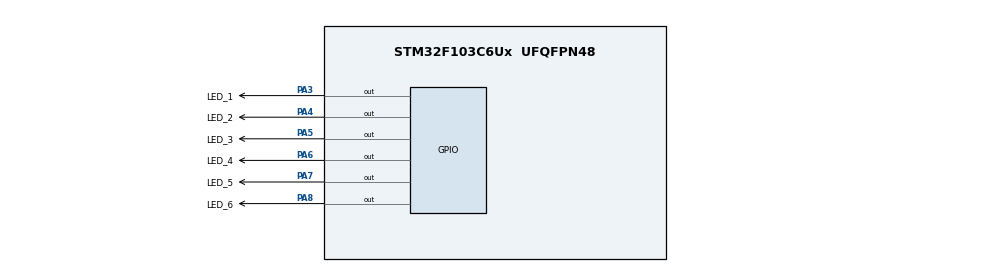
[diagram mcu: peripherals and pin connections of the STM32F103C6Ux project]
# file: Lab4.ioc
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Mcu.Family=STM32F1
Mcu.Name=STM32F103C6Ux
Mcu.Package=UFQFPN48
NVIC.PriorityGroup=NVIC_PRIORITYGROUP_4
NVIC.TIM2_IRQn=true\:0\:0\:false\:false\:true\:true\:true
PA3.GPIO_Label=LED_1
PA3.Signal=GPIO_Output
PA4.GPIO_Label=LED_2
PA4.Signal=GPIO_Output
PA5.GPIO_Label=LED_3
PA5.Signal=GPIO_Output
PA6.GPIO_Label=LED_4
PA6.Signal=GPIO_Output
PA7.GPIO_Label=LED_5
PA7.Signal=GPIO_Output
PA8.GPIO_Label=LED_6
PA8.Signal=GPIO_Output
ProjectManager.HeapSize=0x200
ProjectManager.StackSize=0x400
ProjectManager.TargetToolchain=STM32CubeIDE
RCC.APB1Freq_Value=8000000
RCC.APB2Freq_Value=8000000
TIM2.Period=9
TIM2.Prescaler=7999
VP_SYS_VS_ND.Mode=No_Debug
VP_TIM2_VS_ClockSourceINT.Mode=Internal
board=custom

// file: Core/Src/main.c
/* USER CODE BEGIN Header */
/**
  ******************************************************************************
  * @file           : main.c
  * @brief          : Main program body
  ******************************************************************************
  * @attention
  *
  * <h2><center>&copy; Copyright (c) 2024 STMicroelectronics.
  * All rights reserved.</center></h2>
  *
  * This software component is licensed by ST under BSD 3-Clause license,
  * the "License"; You may not use this file except in compliance with the
  * License. You may obtain a copy of the License at:
  *                        opensource.org/licenses/BSD-3-Clause
  *
  ******************************************************************************
  */
/* USER CODE END Header */
#include "main.h"

TIM_HandleTypeDef htim2;

void SystemClock_Config(void);
static void MX_GPIO_Init(void);
static void MX_TIM2_Init(void);
/* USER CODE BEGIN PFP */
void clearLED(void){ //reset all the LED
	HAL_GPIO_WritePin(LED_6_GPIO_Port, LED_6_Pin, 0);
	HAL_GPIO_WritePin(LED_1_GPIO_Port, LED_1_Pin, 0);
	HAL_GPIO_WritePin(LED_2_GPIO_Port, LED_2_Pin, 0);
	HAL_GPIO_WritePin(LED_3_GPIO_Port, LED_3_Pin, 0);
	HAL_GPIO_WritePin(LED_4_GPIO_Port, LED_4_Pin, 0);
	HAL_GPIO_WritePin(LED_5_GPIO_Port, LED_5_Pin, 0);
}

void toggleLED_1(void){
	HAL_GPIO_TogglePin(LED_1_GPIO_Port, LED_1_Pin);
}

void toggleLED_2(void){
	HAL_GPIO_TogglePin(LED_2_GPIO_Port, LED_2_Pin);
}

void toggleLED_3(void){
	HAL_GPIO_TogglePin(LED_3_GPIO_Port, LED_3_Pin);
}

void toggleLED_4(void){
	HAL_GPIO_TogglePin(LED_4_GPIO_Port, LED_4_Pin);
}

void toggleLED_5(void){
	HAL_GPIO_TogglePin(LED_5_GPIO_Port, LED_5_Pin);
}

void toggleLED_6(void){
	HAL_GPIO_TogglePin(LED_6_GPIO_Port, LED_6_Pin);
}
/* USER CODE END PFP */

int main(void)
{

  /* MCU Configuration--------------------------------------------------------*/

  /* Reset of all peripherals, Initializes the Flash interface and the Systick. */
  HAL_Init();

  /* Configure the system clock */
  SystemClock_Config();

  /* Initialize all configured peripherals */
  MX_GPIO_Init();
  MX_TIM2_Init();
  /* USER CODE BEGIN 2 */
  HAL_TIM_Base_Start_IT(&htim2);

  SCH_Add_Task(toggleLED_1, 0, 50);// 50 TICKS = 500MS (1 TICK = 10MS), ĐỘ TRỄ 0MS (hoạt động ngay lập tức)
  SCH_Add_Task(toggleLED_2, 100, 100);
  SCH_Add_Task(toggleLED_3, 200, 150);
  SCH_Add_Task(toggleLED_4, 300, 200);
  SCH_Add_Task(toggleLED_5, 400, 250);
  SCH_Add_Task(toggleLED_6, 500, 0);
  /* USER CODE END 2 */

  /* Infinite loop */
  while (1)
  {
	  SCH_Dispatch_Tasks();
  }
}

void SystemClock_Config(void)
{
  RCC_OscInitTypeDef RCC_OscInitStruct = {0};
  RCC_ClkInitTypeDef RCC_ClkInitStruct = {0};

  /** Initializes the RCC Oscillators according to the specified parameters
  * in the RCC_OscInitTypeDef structure.
  */
  RCC_OscInitStruct.OscillatorType = RCC_OSCILLATORTYPE_HSI;
  RCC_OscInitStruct.HSIState = RCC_HSI_ON;
  RCC_OscInitStruct.HSICalibrationValue = RCC_HSICALIBRATION_DEFAULT;
  RCC_OscInitStruct.PLL.PLLState = RCC_PLL_NONE;
  if (HAL_RCC_OscConfig(&RCC_OscInitStruct) != HAL_OK)
  {
    Error_Handler();
  }
  /** Initializes the CPU, AHB and APB buses clocks
  */
  RCC_ClkInitStruct.ClockType = RCC_CLOCKTYPE_HCLK|RCC_CLOCKTYPE_SYSCLK
                              |RCC_CLOCKTYPE_PCLK1|RCC_CLOCKTYPE_PCLK2;
  RCC_ClkInitStruct.SYSCLKSource = RCC_SYSCLKSOURCE_HSI;
  RCC_ClkInitStruct.AHBCLKDivider = RCC_SYSCLK_DIV1;
  RCC_ClkInitStruct.APB1CLKDivider = RCC_HCLK_DIV1;
  RCC_ClkInitStruct.APB2CLKDivider = RCC_HCLK_DIV1;

  if (HAL_RCC_ClockConfig(&RCC_ClkInitStruct, FLASH_LATENCY_0) != HAL_OK)
  {
    Error_Handler();
  }
}

static void MX_TIM2_Init(void)
{

  TIM_ClockConfigTypeDef sClockSourceConfig = {0};
  TIM_MasterConfigTypeDef sMasterConfig = {0};

  htim2.Instance = TIM2;
  htim2.Init.Prescaler = 7999;
  htim2.Init.CounterMode = TIM_COUNTERMODE_UP;
  htim2.Init.Period = 9;
  htim2.Init.ClockDivision = TIM_CLOCKDIVISION_DIV1;
  htim2.Init.AutoReloadPreload = TIM_AUTORELOAD_PRELOAD_DISABLE;
  if (HAL_TIM_Base_Init(&htim2) != HAL_OK)
  {
    Error_Handler();
  }
  sClockSourceConfig.ClockSource = TIM_CLOCKSOURCE_INTERNAL;
  if (HAL_TIM_ConfigClockSource(&htim2, &sClockSourceConfig) != HAL_OK)
  {
    Error_Handler();
  }
  sMasterConfig.MasterOutputTrigger = TIM_TRGO_RESET;
  sMasterConfig.MasterSlaveMode = TIM_MASTERSLAVEMODE_DISABLE;
  if (HAL_TIMEx_MasterConfigSynchronization(&htim2, &sMasterConfig) != HAL_OK)
  {
    Error_Handler();
  }

}

static void MX_GPIO_Init(void)
{
  GPIO_InitTypeDef GPIO_InitStruct = {0};

  /* GPIO Ports Clock Enable */
  __HAL_RCC_GPIOA_CLK_ENABLE();

  /*Configure GPIO pin Output Level */
  HAL_GPIO_WritePin(GPIOA, LED_1_Pin|LED_2_Pin|LED_3_Pin|LED_4_Pin
                          |LED_5_Pin|LED_6_Pin, GPIO_PIN_RESET);

  /*Configure GPIO pins : LED_1_Pin LED_2_Pin LED_3_Pin LED_4_Pin
                           LED_5_Pin LED_6_Pin */
  GPIO_InitStruct.Pin = LED_1_Pin|LED_2_Pin|LED_3_Pin|LED_4_Pin
                          |LED_5_Pin|LED_6_Pin;
  GPIO_InitStruct.Mode = GPIO_MODE_OUTPUT_PP;
  GPIO_InitStruct.Pull = GPIO_NOPULL;
  GPIO_InitStruct.Speed = GPIO_SPEED_FREQ_LOW;
  HAL_GPIO_Init(GPIOA, &GPIO_InitStruct);

}

/* USER CODE BEGIN 4 */
void HAL_TIM_PeriodElapsedCallback(TIM_HandleTypeDef *htim){
	SCH_Update();
}
/* USER CODE END 4 */

void Error_Handler(void)
{
  __disable_irq();
  while (1)
  {
  }
}

/************************ (C) COPYRIGHT STMicroelectronics *****END OF FILE****/
